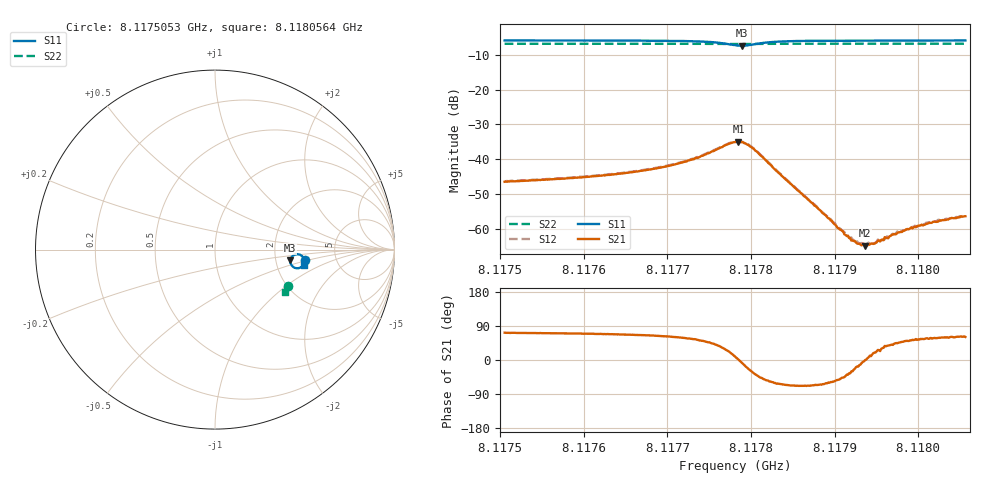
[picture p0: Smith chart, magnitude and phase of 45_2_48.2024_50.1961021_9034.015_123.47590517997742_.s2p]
#  HZ  S  RI  R  50.00
! Rohde & Schwarz Vector Network Analyzer
! Rohde-Schwarz,ZNB20-2Port,1311601062101988,3.16
! Created: UTC 3/20/2024, 11:38:02 AM
! freq[Hz]  re:S11  im:S11  re:S21  im:S21  re:S12  im:S12  re:S22  im:S22
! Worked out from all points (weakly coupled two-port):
!   401 points, 8.1175053 GHz to 8.1180564 GHz, reference 50 ohm
!   highest |S21| = -34.95 dB at 8.117785 GHz (marker M1); lowest = -64.8 dB at 8.1179366 GHz (marker M2)
!   lowest |S11| = -7.5 dB at 8.1177891 GHz (marker M3), VSWR 2.47, Z = 121 - j17.4 ohm
!   |S11| at or under -10 dB: nowhere
!   |S22| runs from -6.9 to -6.9 dB; largest |S21 - S12| = 0.00062
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8.11750532e9  0.5015 -0.0584  0.00147 0.00452  0.00154 0.00458  0.4045 -0.2023
8.11759763e9  0.4994 -0.0688  0.0019 0.00514  0.00202 0.00525  0.4016 -0.2082
8.11764447e9  0.4972 -0.0753  0.0024 0.00574  0.00251 0.00582  0.4001 -0.2114
8.11768994e9  0.493 -0.084  0.00338 0.00672  0.00348 0.00685  0.3984 -0.2143
8.11773403e9  0.481 -0.0969  0.00607 0.00854  0.00627 0.00849  0.3966 -0.2174
8.11776434e9  0.4517 -0.1033  0.0123 0.00831  0.0126 0.00842  0.3943 -0.2191
8.11778087e9  0.4237 -0.0826  0.0174 0.00273  0.0178 0.00267  0.393 -0.2189
8.117785e9  0.42 -0.0713  0.0179 0.000427  0.0181 0.000133  0.3928 -0.2187
8.11778914e9  0.4198 -0.0592  0.0175 -0.0024  0.0177 -0.00255  0.3927 -0.2184
8.1177974e9  0.4306 -0.0376  0.0145 -0.00655  0.0147 -0.00672  0.3932 -0.218
8.11780567e9  0.4482 -0.0271  0.0103 -0.00813  0.0104 -0.00852  0.3938 -0.2183
8.11783185e9  0.4839 -0.0351  0.00308 -0.00583  0.0031 -0.00594  0.3946 -0.2206
8.11787318e9  0.4964 -0.0538  0.000917 -0.00217  0.000917 -0.00221  0.3936 -0.224
8.11791589e9  0.4985 -0.0646  0.000626 -0.000504  0.000621 -0.000491  0.3922 -0.227
8.11792002e9  0.4987 -0.0654  0.00059 -0.00034  0.000639 -0.000404  0.3921 -0.2274
8.11792967e9  0.4988 -0.0672  0.000597 -0.000141  0.000609 -0.000128  0.3916 -0.228
8.11793656e9  0.4988 -0.0683  0.000575 -1.56e-06  0.000595 1.03e-05  0.3916 -0.2284
8.11794758e9  0.4989 -0.0701  0.000581 0.000206  0.000579 0.000202  0.3912 -0.2292
8.11796549e9  0.4987 -0.0729  0.00061 0.000489  0.000626 0.000485  0.3905 -0.2304
8.11800131e9  0.4984 -0.0774  0.000663 0.000905  0.000649 0.00093  0.3894 -0.2326
8.11802749e9  0.4983 -0.0805  0.000671 0.00113  0.000692 0.00116  0.3885 -0.2344
8.11805642e9  0.4979 -0.0835  0.000742 0.00133  0.000728 0.00137  0.3874 -0.2361
